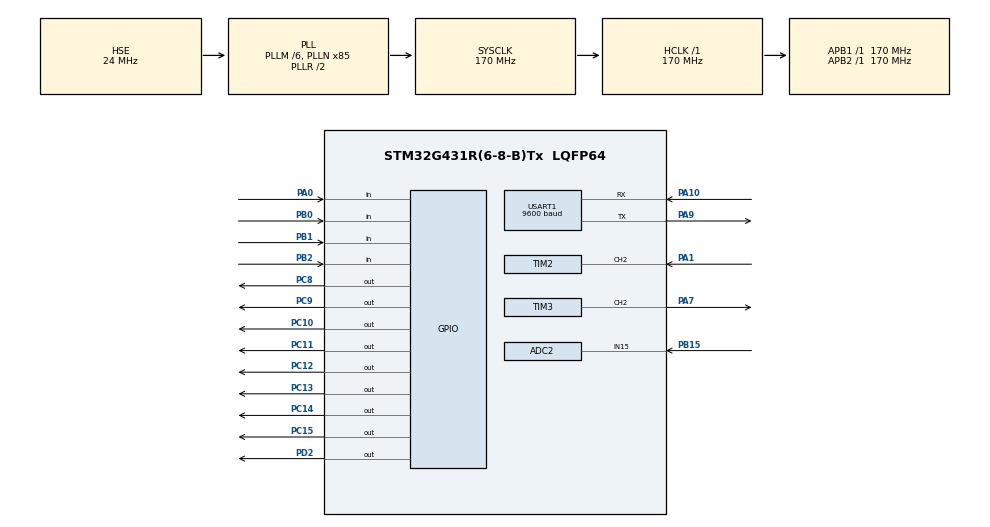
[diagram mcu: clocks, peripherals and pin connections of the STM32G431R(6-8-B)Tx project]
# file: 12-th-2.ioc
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ADC2.Channel-0\#ChannelRegularConversion=ADC_CHANNEL_15
ADC2.ContinuousConvMode=ENABLE
ADC2.NbrOfConversionFlag=1
ADC2.OffsetNumber-0\#ChannelRegularConversion=ADC_OFFSET_NONE
ADC2.Overrun=ADC_OVR_DATA_OVERWRITTEN
ADC2.Rank-0\#ChannelRegularConversion=1
ADC2.SamplingTime-0\#ChannelRegularConversion=ADC_SAMPLETIME_2CYCLES_5
Mcu.Family=STM32G4
Mcu.Name=STM32G431R(6-8-B)Tx
Mcu.Package=LQFP64
NVIC.PriorityGroup=NVIC_PRIORITYGROUP_4
NVIC.TIM2_IRQn=true\:0\:0\:false\:false\:true\:true\:true\:true
PA0.Signal=GPIO_Input
PA1.Signal=S_TIM2_CH2
PA10.Mode=Asynchronous
PA10.Signal=USART1_RX
PA13.Mode=Serial_Wire
PA13.Signal=SYS_JTMS-SWDIO
PA14.Mode=Serial_Wire
PA14.Signal=SYS_JTCK-SWCLK
PA7.Signal=S_TIM3_CH2
PA9.Mode=Asynchronous
PA9.Signal=USART1_TX
PB0.Signal=GPIO_Input
PB1.Signal=GPIO_Input
PB15.Mode=IN15-Single-Ended
PB15.Signal=ADC2_IN15
PB2.Signal=GPIO_Input
PC10.Signal=GPIO_Output
PC11.Signal=GPIO_Output
PC12.Signal=GPIO_Output
PC13.Signal=GPIO_Output
PC14-OSC32_IN.Signal=GPIO_Output
PC15-OSC32_OUT.Signal=GPIO_Output
PC8.Signal=GPIO_Output
PC9.Signal=GPIO_Output
PD2.Signal=GPIO_Output
PF0-OSC_IN.Mode=HSE-External-Oscillator
PF0-OSC_IN.Signal=RCC_OSC_IN
PF1-OSC_OUT.Mode=HSE-External-Oscillator
PF1-OSC_OUT.Signal=RCC_OSC_OUT
ProjectManager.HeapSize=0x200
ProjectManager.StackSize=0x400
ProjectManager.TargetToolchain=MDK-ARM V5.32
RCC.ADC12Freq_Value=170000000
RCC.AHBFreq_Value=170000000
RCC.APB1Freq_Value=170000000
RCC.APB1TimFreq_Value=170000000
RCC.APB2Freq_Value=170000000
RCC.APB2TimFreq_Value=170000000
RCC.CortexFreq_Value=170000000
RCC.EXTERNAL_CLOCK_VALUE=12288000
RCC.HCLKFreq_Value=170000000
RCC.HSE_VALUE=24000000
RCC.HSI48_VALUE=48000000
RCC.HSI_VALUE=16000000
RCC.LSE_VALUE=32768
RCC.PLLM=RCC_PLLM_DIV6
RCC.PLLN=85
RCC.PLLSourceVirtual=RCC_PLLSOURCE_HSE
RCC.SYSCLKFreq_VALUE=170000000
RCC.SYSCLKSource=RCC_SYSCLKSOURCE_PLLCLK
RCC.USBFreq_Value=170000000
RCC.VCOOutputFreq_Value=340000000
SH.S_TIM2_CH2.0=TIM2_CH2,Input_Capture2_from_TI2
SH.S_TIM3_CH2.0=TIM3_CH2,PWM Generation2 CH2
TIM2.Channel-Input_Capture2_from_TI2=TIM_CHANNEL_2
TIM3.Channel-PWM\ Generation2\ CH2=TIM_CHANNEL_2
TIM3.Prescaler=170-1
USART1.BaudRate=9600
USART1.VirtualMode-Asynchronous=VM_ASYNC
VP_SYS_VS_DBSignals.Mode=DisableDeadBatterySignals
board=custom

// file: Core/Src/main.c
/* USER CODE BEGIN Header */
/**
  ******************************************************************************
  * @file           : main.c
  * @brief          : Main program body
  ******************************************************************************
  * @attention
  *
  * Copyright (c) 2022 STMicroelectronics.
  * All rights reserved.
  *
  * This software is licensed under terms that can be found in the LICENSE file
  * in the root directory of this software component.
  * If no LICENSE file comes with this software, it is provided AS-IS.
  *
  ******************************************************************************
  */
/* USER CODE END Header */
#include "main.h"
#include "adc.h"
#include "tim.h"
#include "usart.h"
#include "gpio.h"

/* USER CODE BEGIN Includes */
#include "lcd.h"
#include "key.h"
/* USER CODE END Includes */

void SystemClock_Config(void);
/* USER CODE BEGIN PFP */
void PWM_Adjust(void);
/* USER CODE END PFP */

int main(void)
{

  /* MCU Configuration--------------------------------------------------------*/

  /* Reset of all peripherals, Initializes the Flash interface and the Systick. */
  HAL_Init();

  /* Configure the system clock */
  SystemClock_Config();

  /* Initialize all configured peripherals */
  MX_GPIO_Init();
  MX_ADC2_Init();
  MX_TIM3_Init();
  MX_USART1_UART_Init();
  MX_TIM2_Init();
  /* USER CODE BEGIN 2 */
	LCD_Init();
	LCD_Clear(Black);
	LCD_SetBackColor(Black);
	LCD_SetTextColor(White);
	HAL_ADC_Start(&hadc2);
	HAL_TIM_IC_Start_IT(&htim2,TIM_CHANNEL_2);
	HAL_TIM_PWM_Start(&htim3,TIM_CHANNEL_2);
	LED_Light(0x00);
  /* USER CODE END 2 */

  /* Infinite loop */
  /* USER CODE BEGIN WHILE */
  while (1)
  {
		PWM_Adjust();
		KEY_Process();
		LCD_Show();
		LED_Control();
    /* USER CODE END WHILE */

  }
}

void SystemClock_Config(void)
{
  RCC_OscInitTypeDef RCC_OscInitStruct = {0};
  RCC_ClkInitTypeDef RCC_ClkInitStruct = {0};

  /** Configure the main internal regulator output voltage
  */
  HAL_PWREx_ControlVoltageScaling(PWR_REGULATOR_VOLTAGE_SCALE1_BOOST);

  /** Initializes the RCC Oscillators according to the specified parameters
  * in the RCC_OscInitTypeDef structure.
  */
  RCC_OscInitStruct.OscillatorType = RCC_OSCILLATORTYPE_HSE;
  RCC_OscInitStruct.HSEState = RCC_HSE_ON;
  RCC_OscInitStruct.PLL.PLLState = RCC_PLL_ON;
  RCC_OscInitStruct.PLL.PLLSource = RCC_PLLSOURCE_HSE;
  RCC_OscInitStruct.PLL.PLLM = RCC_PLLM_DIV6;
  RCC_OscInitStruct.PLL.PLLN = 85;
  RCC_OscInitStruct.PLL.PLLP = RCC_PLLP_DIV2;
  RCC_OscInitStruct.PLL.PLLQ = RCC_PLLQ_DIV2;
  RCC_OscInitStruct.PLL.PLLR = RCC_PLLR_DIV2;
  if (HAL_RCC_OscConfig(&RCC_OscInitStruct) != HAL_OK)
  {
    Error_Handler();
  }

  /** Initializes the CPU, AHB and APB buses clocks
  */
  RCC_ClkInitStruct.ClockType = RCC_CLOCKTYPE_HCLK|RCC_CLOCKTYPE_SYSCLK
                              |RCC_CLOCKTYPE_PCLK1|RCC_CLOCKTYPE_PCLK2;
  RCC_ClkInitStruct.SYSCLKSource = RCC_SYSCLKSOURCE_PLLCLK;
  RCC_ClkInitStruct.AHBCLKDivider = RCC_SYSCLK_DIV1;
  RCC_ClkInitStruct.APB1CLKDivider = RCC_HCLK_DIV1;
  RCC_ClkInitStruct.APB2CLKDivider = RCC_HCLK_DIV1;

  if (HAL_RCC_ClockConfig(&RCC_ClkInitStruct, FLASH_LATENCY_4) != HAL_OK)
  {
    Error_Handler();
  }
}

/* USER CODE BEGIN 4 */
void PWM_Adjust(void){
	uint32_t arr=((100000*rValue)/freq)-1;
	uint16_t ccr=(duty)*arr;
	__HAL_TIM_SET_AUTORELOAD(&htim3,arr);
	__HAL_TIM_SET_COMPARE(&htim3,TIM_CHANNEL_2,ccr);
}
/* USER CODE END 4 */

void Error_Handler(void)
{
  __disable_irq();
  while (1)
  {
  }
}
